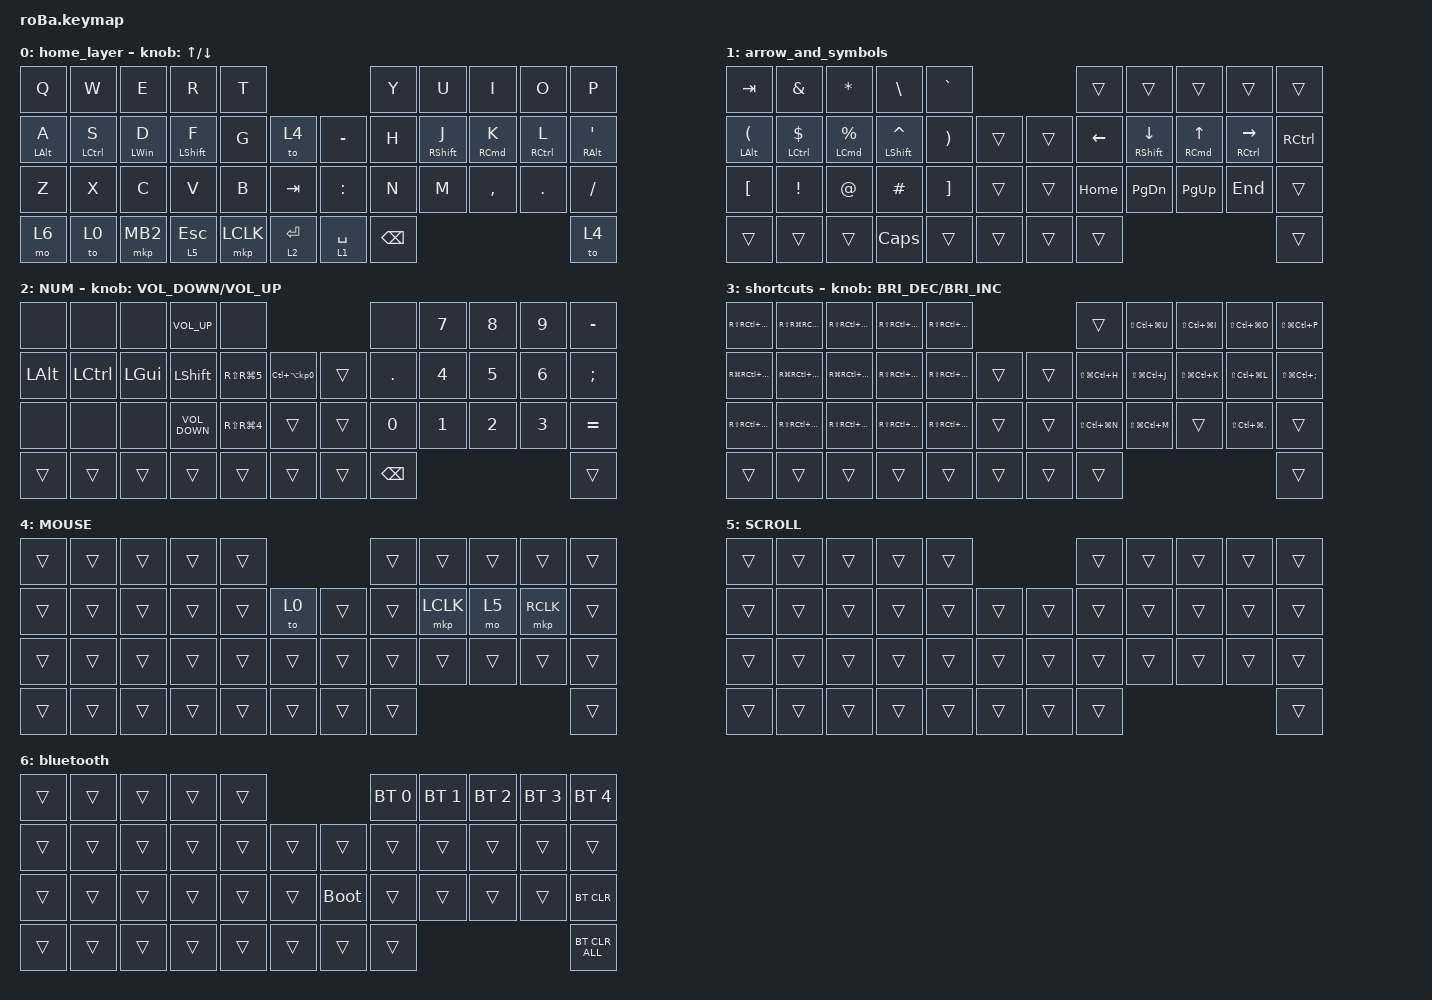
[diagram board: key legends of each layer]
#include <behaviors.dtsi>
#include <dt-bindings/zmk/bt.h>
#include <dt-bindings/zmk/keys.h>
#include <dt-bindings/zmk/pointing.h>

&lt { tapping-term-ms = <150>; };

&trackball {
    scroll-layers = <5>;

    // arrows {
    //     layers = <3>;
    //     bindings =
    //         <&kp RIGHT_ARROW>,
    //         <&kp LEFT_ARROW>,
    //         <&kp UP_ARROW>,
    //         <&kp DOWN_ARROW>;
    //     tick = <10>;
    //     wait-ms = <5>;
    //     tap-ms = <5>;
    // };
};

/ {
    combos {
        compatible = "zmk,combos";

        tab {
            bindings = <&kp TAB>;
            key-positions = <0 1>;
        };

        shift_tab {
            bindings = <&kp LS(TAB)>;
            key-positions = <1 2>;
        };

        double_quotes {
            bindings = <&kp DOUBLE_QUOTES>;
            key-positions = <20 21>;
        };
    };

    behaviors {
        hmd: homerow_mods_dominant {
            compatible = "zmk,behavior-hold-tap";
            label = "HMD";
            bindings = <&kp>, <&kp>;

            #binding-cells = <2>;
            tapping-term-ms = <180>;
            quick-tap-ms = <0>;
            flavor = "tap-preferred";
            require-prior-idle-ms = <100>;
        };

        hmd_mkp: hold_tap_key_or_mkp {
            compatible = "zmk,behavior-hold-tap";
            label = "HMD_MKP";
            #binding-cells = <2>;
            bindings = <&kp>, <&mkp>;

            tapping-term-ms = <180>;
            quick-tap-ms = <0>;
            flavor = "tap-preferred";
            require-prior-idle-ms = <100>;
        };

        hm: homerow_mods {
            compatible = "zmk,behavior-hold-tap";
            label = "HM";
            bindings = <&kp>, <&kp>;

            #binding-cells = <2>;
            tapping-term-ms = <160>;
            quick-tap-ms = <0>;
            flavor = "tap-preferred";
            require-prior-idle-ms = <150>;
        };

        ht_mo_mkp: hold_layer_or_mkp {
            compatible = "zmk,behavior-hold-tap";
            label = "HT_MO_MKP";
            #binding-cells = <2>;
            bindings = <&mo>, <&mkp>;

            tapping-term-ms = <180>;
            quick-tap-ms = <0>;
            flavor = "tap-preferred";
            require-prior-idle-ms = <150>;
        };
    };

    keymap {
        compatible = "zmk,keymap";

        home_layer {
            bindings = <
&kp Q           &kp W        &kp E            &kp R              &kp T                                    &kp Y          &kp U               &kp I                 &kp O        &kp P
&hm LEFT_ALT A  &hm LCTRL S  &hmd LEFT_WIN D  &hmd LEFT_SHIFT F  &kp G      &to 4            &kp MINUS    &kp H          &hmd RIGHT_SHIFT J  &hmd RIGHT_COMMAND K  &hm RCTRL L  &hm RIGHT_ALT APOSTROPHE
&kp Z           &kp X        &kp C            &kp V              &kp B      &kp TAB          &kp COLON    &kp N          &kp M               &kp COMMA             &kp DOT      &kp SLASH
&mo 6           &to 0        &mkp MB2         &lt 5 ESCAPE       &mkp LCLK  &lt 2 ENTER      &lt 1 SPACE  &kp BACKSPACE                                                         &to 4
            >;

            sensor-bindings = <&inc_dec_kp UP_ARROW DOWN>;
        };

        arrow_and_symbols {
            bindings = <
&kp TAB                        &kp AMPERSAND            &kp ASTERISK               &kp BSLH               &kp GRAVE                                  &trans    &trans                       &trans                       &trans                         &trans
&hm LEFT_ALT LEFT_PARENTHESIS  &hm LEFT_CONTROL DOLLAR  &hmd LEFT_COMMAND PERCENT  &hmd LEFT_SHIFT CARET  &kp RIGHT_PARENTHESIS  &trans      &trans  &kp LEFT  &hmd RIGHT_SHIFT DOWN_ARROW  &hmd RIGHT_COMMAND UP_ARROW  &hm RIGHT_CONTROL RIGHT_ARROW  &kp RCTRL
&kp LBKT                       &kp EXCLAMATION          &kp AT_SIGN                &kp HASH               &kp RBKT               &trans      &trans  &kp HOME  &kp PG_DN                    &kp PG_UP                    &kp END                        &trans
&trans                         &trans                   &trans                     &kp CAPSLOCK           &trans                 &trans      &trans  &trans                                                                                             &trans
            >;
        };

        NUM {
            bindings = <
&none     &none      &none     &kp C_VOLUME_UP    &none                                                      &none     &kp N7  &kp N8  &kp N9  &kp MINUS
&kp LALT  &kp LCTRL  &kp LGUI  &kp LSHFT          &kp RS(RG(N5))        &kp LC(LA(KP_NUMBER_0))      &trans  &kp DOT   &kp N4  &kp N5  &kp N6  &kp SEMI
&none     &none      &none     &kp C_VOLUME_DOWN  &kp RS(RG(NUMBER_4))  &trans                       &trans  &kp N0    &kp N1  &kp N2  &kp N3  &kp EQUAL
&trans    &trans     &trans    &trans             &trans                &trans                       &trans  &kp BSPC                          &trans
            >;

            sensor-bindings = <&inc_dec_kp C_VOLUME_DOWN C_VOLUME_UP>;
        };

        shortcuts {
            bindings = <
&kp RS(RC(RG(Q)))  &kp RS(RG(RC(W)))  &kp RS(RC(RG(E)))  &kp RS(RC(RG(R)))  &kp RS(RC(RG(T)))                      &trans             &kp LS(LC(LG(U)))  &kp LS(LC(LG(I)))  &kp LS(LC(LG(O)))       &kp LS(LG(LC(P)))
&kp RG(RC(RS(A)))  &kp RG(RC(RS(S)))  &kp RG(RC(RS(D)))  &kp RS(RC(RG(F)))  &kp RS(RC(RG(G)))  &trans      &trans  &kp LS(LG(LC(H)))  &kp LS(LG(LC(J)))  &kp LS(LG(LC(K)))  &kp LS(LC(LG(L)))       &kp LS(LG(LC(SEMICOLON)))
&kp RS(RC(RG(Z)))  &kp RS(RC(RG(X)))  &kp RS(RC(RG(C)))  &kp RS(RC(RG(V)))  &kp RS(RC(RG(B)))  &trans      &trans  &kp LS(LC(LG(N)))  &kp LS(LG(LC(M)))  &trans             &kp LS(LC(LG(PERIOD)))  &trans
&trans             &trans             &trans             &trans             &trans             &trans      &trans  &trans                                                                           &trans
            >;

            sensor-bindings = <&inc_dec_kp C_BRIGHTNESS_DEC C_BRIGHTNESS_INC>;
        };

        MOUSE {
            bindings = <
&trans  &trans  &trans  &trans  &trans                      &trans  &trans     &trans  &trans     &trans
&trans  &trans  &trans  &trans  &trans  &to 0       &trans  &trans  &mkp LCLK  &mo 5   &mkp RCLK  &trans
&trans  &trans  &trans  &trans  &trans  &trans      &trans  &trans  &trans     &trans  &trans     &trans
&trans  &trans  &trans  &trans  &trans  &trans      &trans  &trans                                &trans
            >;
        };

        SCROLL {
            bindings = <
&trans  &trans  &trans  &trans  &trans                      &trans  &trans  &trans  &trans  &trans
&trans  &trans  &trans  &trans  &trans  &trans      &trans  &trans  &trans  &trans  &trans  &trans
&trans  &trans  &trans  &trans  &trans  &trans      &trans  &trans  &trans  &trans  &trans  &trans
&trans  &trans  &trans  &trans  &trans  &trans      &trans  &trans                          &trans
            >;
        };

        bluetooth {
            bindings = <
&trans  &trans  &trans  &trans  &trans                           &bt BT_SEL 0  &bt BT_SEL 1  &bt BT_SEL 2  &bt BT_SEL 3  &bt BT_SEL 4
&trans  &trans  &trans  &trans  &trans  &trans      &trans       &trans        &trans        &trans        &trans        &trans
&trans  &trans  &trans  &trans  &trans  &trans      &bootloader  &trans        &trans        &trans        &trans        &bt BT_CLR
&trans  &trans  &trans  &trans  &trans  &trans      &trans       &trans                                                  &bt BT_CLR_ALL
            >;
        };
    };

    conditional_layers {
        compatible = "zmk,conditional-layers";

        tri_layer {
            if-layers = <2 1>;
            then-layer = <3>;
        };
    };
};
